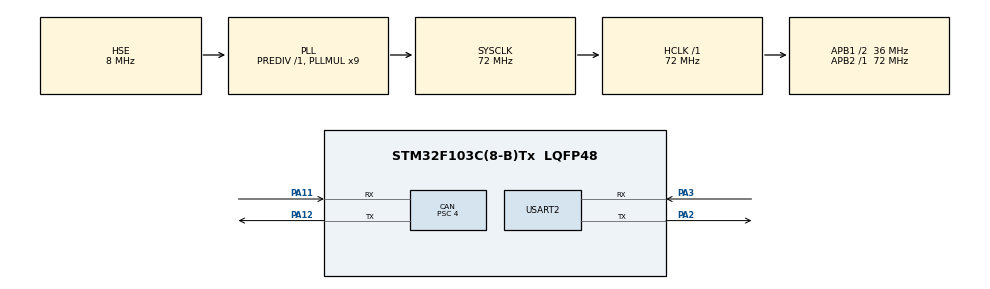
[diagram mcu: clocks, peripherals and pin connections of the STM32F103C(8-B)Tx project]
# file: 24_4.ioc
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CAN.BS1=CAN_BS1_4TQ
CAN.BS2=CAN_BS2_4TQ
CAN.CalculateBaudRate=1000000
CAN.CalculateTimeBit=1000
CAN.CalculateTimeQuantum=111.11111111111111
CAN.Mode=CAN_MODE_LOOPBACK
CAN.Prescaler=4
Dma.Request0=USART2_RX
Dma.Request1=USART2_TX
Dma.USART2_RX.0.Direction=DMA_PERIPH_TO_MEMORY
Dma.USART2_RX.0.Instance=DMA1_Channel6
Dma.USART2_RX.0.MemDataAlignment=DMA_MDATAALIGN_BYTE
Dma.USART2_RX.0.MemInc=DMA_MINC_ENABLE
Dma.USART2_RX.0.Mode=DMA_NORMAL
Dma.USART2_RX.0.PeriphDataAlignment=DMA_PDATAALIGN_BYTE
Dma.USART2_RX.0.PeriphInc=DMA_PINC_DISABLE
Dma.USART2_RX.0.Priority=DMA_PRIORITY_LOW
Dma.USART2_TX.1.Direction=DMA_MEMORY_TO_PERIPH
Dma.USART2_TX.1.Instance=DMA1_Channel7
Dma.USART2_TX.1.MemDataAlignment=DMA_MDATAALIGN_BYTE
Dma.USART2_TX.1.MemInc=DMA_MINC_ENABLE
Dma.USART2_TX.1.Mode=DMA_NORMAL
Dma.USART2_TX.1.PeriphDataAlignment=DMA_PDATAALIGN_BYTE
Dma.USART2_TX.1.PeriphInc=DMA_PINC_DISABLE
Dma.USART2_TX.1.Priority=DMA_PRIORITY_LOW
FREERTOS.Tasks01=defaultTask,24,128,StartDefaultTask,Default,NULL,Dynamic,NULL,NULL
Mcu.Family=STM32F1
Mcu.Name=STM32F103C(8-B)Tx
Mcu.Package=LQFP48
NVIC.CAN1_RX1_IRQn=true\:5\:0\:false\:false\:true\:true\:true\:true\:true
NVIC.DMA1_Channel6_IRQn=true\:5\:0\:false\:false\:true\:true\:false\:true\:true
NVIC.DMA1_Channel7_IRQn=true\:5\:0\:false\:false\:true\:true\:false\:true\:true
NVIC.PriorityGroup=NVIC_PRIORITYGROUP_4
NVIC.TIM4_IRQn=true\:15\:0\:false\:false\:true\:false\:false\:true\:true
NVIC.TimeBase=TIM4_IRQn
NVIC.TimeBaseIP=TIM4
NVIC.USART2_IRQn=true\:5\:0\:false\:false\:true\:true\:false\:true\:true
NVIC.USB_HP_CAN1_TX_IRQn=true\:5\:0\:false\:false\:true\:true\:true\:true\:true
NVIC.USB_LP_CAN1_RX0_IRQn=true\:5\:0\:false\:false\:true\:true\:true\:true\:true
PA11.Mode=CAN_Activate
PA11.Signal=CAN_RX
PA12.Mode=CAN_Activate
PA12.Signal=CAN_TX
PA13.Mode=Serial_Wire
PA13.Signal=SYS_JTMS-SWDIO
PA14.Mode=Serial_Wire
PA14.Signal=SYS_JTCK-SWCLK
PA2.Mode=Asynchronous
PA2.Signal=USART2_TX
PA3.Mode=Asynchronous
PA3.Signal=USART2_RX
PD0-OSC_IN.Mode=HSE-External-Oscillator
PD0-OSC_IN.Signal=RCC_OSC_IN
PD1-OSC_OUT.Mode=HSE-External-Oscillator
PD1-OSC_OUT.Signal=RCC_OSC_OUT
ProjectManager.HeapSize=0x200
ProjectManager.StackSize=0x400
ProjectManager.TargetToolchain=MDK-ARM V5.32
RCC.AHBFreq_Value=72000000
RCC.APB1CLKDivider=RCC_HCLK_DIV2
RCC.APB1Freq_Value=36000000
RCC.APB1TimFreq_Value=72000000
RCC.APB2Freq_Value=72000000
RCC.APB2TimFreq_Value=72000000
RCC.HCLKFreq_Value=72000000
RCC.PLLMUL=RCC_PLL_MUL9
RCC.PLLSourceVirtual=RCC_PLLSOURCE_HSE
RCC.SYSCLKFreq_VALUE=72000000
RCC.SYSCLKSource=RCC_SYSCLKSOURCE_PLLCLK
RCC.USBFreq_Value=72000000
USART2.VirtualMode=VM_ASYNC
VP_FREERTOS_VS_CMSIS_V2.Mode=CMSIS_V2
VP_SYS_VS_tim4.Mode=TIM4
board=custom

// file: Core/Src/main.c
/* USER CODE BEGIN Header */
/**
  ******************************************************************************
  * @file           : main.c
  * @brief          : Main program body
  ******************************************************************************
  * @attention
  *
  * Copyright (c) 2025 STMicroelectronics.
  * All rights reserved.
  *
  * This software is licensed under terms that can be found in the LICENSE file
  * in the root directory of this software component.
  * If no LICENSE file comes with this software, it is provided AS-IS.
  *
  ******************************************************************************
  */
/* USER CODE END Header */
#include "main.h"
#include "cmsis_os.h"
#include "can.h"
#include "dma.h"
#include "usart.h"
#include "gpio.h"

void SystemClock_Config(void);
void MX_FREERTOS_Init(void);

int main(void)
{

  /* MCU Configuration--------------------------------------------------------*/

  /* Reset of all peripherals, Initializes the Flash interface and the Systick. */
  HAL_Init();

  /* Configure the system clock */
  SystemClock_Config();

  /* Initialize all configured peripherals */
  MX_GPIO_Init();
  MX_DMA_Init();
  MX_CAN_Init();
  MX_USART2_UART_Init();

  /* Init scheduler */
  osKernelInitialize();  /* Call init function for freertos objects (in cmsis_os2.c) */
  MX_FREERTOS_Init();

  /* Start scheduler */
  osKernelStart();

  /* We should never get here as control is now taken by the scheduler */

  /* Infinite loop */
  while (1)
  {

  }
}

void SystemClock_Config(void)
{
  RCC_OscInitTypeDef RCC_OscInitStruct = {0};
  RCC_ClkInitTypeDef RCC_ClkInitStruct = {0};

  /** Initializes the RCC Oscillators according to the specified parameters
  * in the RCC_OscInitTypeDef structure.
  */
  RCC_OscInitStruct.OscillatorType = RCC_OSCILLATORTYPE_HSE;
  RCC_OscInitStruct.HSEState = RCC_HSE_ON;
  RCC_OscInitStruct.HSEPredivValue = RCC_HSE_PREDIV_DIV1;
  RCC_OscInitStruct.HSIState = RCC_HSI_ON;
  RCC_OscInitStruct.PLL.PLLState = RCC_PLL_ON;
  RCC_OscInitStruct.PLL.PLLSource = RCC_PLLSOURCE_HSE;
  RCC_OscInitStruct.PLL.PLLMUL = RCC_PLL_MUL9;
  if (HAL_RCC_OscConfig(&RCC_OscInitStruct) != HAL_OK)
  {
    Error_Handler();
  }

  /** Initializes the CPU, AHB and APB buses clocks
  */
  RCC_ClkInitStruct.ClockType = RCC_CLOCKTYPE_HCLK|RCC_CLOCKTYPE_SYSCLK
                              |RCC_CLOCKTYPE_PCLK1|RCC_CLOCKTYPE_PCLK2;
  RCC_ClkInitStruct.SYSCLKSource = RCC_SYSCLKSOURCE_PLLCLK;
  RCC_ClkInitStruct.AHBCLKDivider = RCC_SYSCLK_DIV1;
  RCC_ClkInitStruct.APB1CLKDivider = RCC_HCLK_DIV2;
  RCC_ClkInitStruct.APB2CLKDivider = RCC_HCLK_DIV1;

  if (HAL_RCC_ClockConfig(&RCC_ClkInitStruct, FLASH_LATENCY_2) != HAL_OK)
  {
    Error_Handler();
  }
}

void HAL_TIM_PeriodElapsedCallback(TIM_HandleTypeDef *htim)
{
  if (htim->Instance == TIM4)
  {
    HAL_IncTick();
  }
}

void Error_Handler(void)
{
  __disable_irq();
  while (1)
  {
  }
}

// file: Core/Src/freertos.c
/* USER CODE BEGIN Header */
/**
  ******************************************************************************
  * File Name          : freertos.c
  * Description        : Code for freertos applications
  ******************************************************************************
  * @attention
  *
  * Copyright (c) 2025 STMicroelectronics.
  * All rights reserved.
  *
  * This software is licensed under terms that can be found in the LICENSE file
  * in the root directory of this software component.
  * If no LICENSE file comes with this software, it is provided AS-IS.
  *
  ******************************************************************************
  */
/* USER CODE END Header */

#include "FreeRTOS.h"
#include "task.h"
#include "main.h"
#include "cmsis_os.h"

/* USER CODE BEGIN Includes */
#include "usart.h"
#include "can.h"
#include <string.h>
/* USER CODE END Includes */

/* USER CODE BEGIN Variables */
CAN_TxHeaderTypeDef TxHeader;
CAN_RxHeaderTypeDef RxHeader;
uint8_t CAN_TxData[8] = {0};
uint8_t RxData[8];
uint32_t TxMailBox;
int canTrans = 1;
volatile int canState = 0;
int angle = 0;
int speed = 0;
int current = 0;
volatile int dmaState = 1;
int a = 0;
/* USER CODE END Variables */
/* Definitions for defaultTask */
osThreadId_t defaultTaskHandle;
const osThreadAttr_t defaultTask_attributes = {
  .name = "defaultTask",
  .stack_size = 128 * 4,
  .priority = (osPriority_t) osPriorityNormal,
};

/* USER CODE BEGIN FunctionPrototypes */
void CAN_SendData(void);
void CAN_Filter_Init(void);
void CANTask(void *parames);
void TransTask(void *parames);
void TxTask(void *parames);
/* USER CODE END FunctionPrototypes */

void StartDefaultTask(void *argument);

void MX_FREERTOS_Init(void); /* (MISRA C 2004 rule 8.1) */

void MX_FREERTOS_Init(void) {

  /* Create the thread(s) */
  /* creation of defaultTask */
  defaultTaskHandle = osThreadNew(StartDefaultTask, NULL, &defaultTask_attributes);

  /* USER CODE BEGIN RTOS_THREADS */
  /* add threads, ... */
	xTaskCreate(CANTask,"CANTask",128,NULL,osPriorityNormal,NULL);
	xTaskCreate(TransTask,"TransTask",128,NULL,osPriorityNormal,NULL);
	xTaskCreate(TxTask,"TxTask",128,NULL,osPriorityNormal,NULL);
  /* USER CODE END RTOS_THREADS */

}

void StartDefaultTask(void *argument)
{
  for(;;)
  {
    osDelay(1);
  }
}

/* USER CODE BEGIN Application */
void CAN_SendData(void){
	if(canTrans == 1){
		TxHeader.StdId = 0x201;         // 标准帧id
		TxHeader.DLC = 8;  							// 数据长度
		TxHeader.ExtId = 0;							// 扩展帧id
		TxHeader.IDE = CAN_ID_STD;      // 标准帧还是扩展帧
		TxHeader.RTR = CAN_RTR_DATA;    // 是标准帧还是远程帧
		CAN_TxData[0] = 0x11;      			  // 发一个π的小数点
		CAN_TxData[1] = 0x33;
		CAN_TxData[2] = 0x00;
		CAN_TxData[3] = 0x00;
		CAN_TxData[4] = 0xAA;
		CAN_TxData[5] = 0xBB;
		CAN_TxData[6] = 0xCC;
		CAN_TxData[7] = 0x00;
		canTrans = 2;
	}else if(canTrans == 2){
		TxHeader.StdId = 0x202;         // 标准帧id
		TxHeader.DLC = 8;  							// 数据长度
		TxHeader.ExtId = 0;							// 扩展帧id
		TxHeader.IDE = CAN_ID_STD;      // 标准帧还是扩展帧
		TxHeader.RTR = CAN_RTR_DATA;    // 是标准帧还是远程帧
		CAN_TxData[0] = 0x22;      			  // 发一个π的小数点
		CAN_TxData[1] = 0x44;
		CAN_TxData[2] = 0x00;
		CAN_TxData[3] = 0x11;
		CAN_TxData[4] = 0xAA;
		CAN_TxData[5] = 0xBB;
		CAN_TxData[6] = 0xDD;
		CAN_TxData[7] = 0x00;
		canTrans = 3;
	}else if(canTrans == 3){
		TxHeader.StdId = 0x203;         // 标准帧id
		TxHeader.DLC = 8;  							// 数据长度
		TxHeader.ExtId = 0;							// 扩展帧id
		TxHeader.IDE = CAN_ID_STD;      // 标准帧还是扩展帧
		TxHeader.RTR = CAN_RTR_DATA;    // 是标准帧还是远程帧
		CAN_TxData[0] = 0x12;      			  // 发一个π的小数点
		CAN_TxData[1] = 0x23;
		CAN_TxData[2] = 0x00;
		CAN_TxData[3] = 0x00;
		CAN_TxData[4] = 0xCF;
		CAN_TxData[5] = 0xA1;
		CAN_TxData[6] = 0xEA;
		CAN_TxData[7] = 0x00;
		canTrans = 1;
	}
	if(HAL_CAN_AddTxMessage(&hcan,&TxHeader,CAN_TxData,&TxMailBox) != HAL_OK){
	/* 有时间写个错误处理 */
		a++;
	};
}
// 收到数据后存到RxHeader和RxData
void HAL_CAN_RxFifo0MsgPendingCallback(CAN_HandleTypeDef *hcan){
	UBaseType_t uxSavedInterruptStatus; //创建变量
	uxSavedInterruptStatus = taskENTER_CRITICAL_FROM_ISR();
	HAL_CAN_GetRxMessage(hcan, CAN_RX_FIFO0, &RxHeader, RxData);
	canState = 1;
	taskEXIT_CRITICAL_FROM_ISR(uxSavedInterruptStatus);
}
// 三个邮箱发送完数据后的中断,这里用来发送下一轮数据
void CAN_Filter_Init(void) {
    CAN_FilterTypeDef sFilterConfig;      											// 定义过滤器
    sFilterConfig.FilterBank = 0;																// 过滤器组编号
    sFilterConfig.FilterFIFOAssignment = CAN_FILTER_FIFO0 ;     // 匹配成功后消息存入哪个fifo
    sFilterConfig.FilterIdHigh = ((0x201 | 0x202 | 0x203) << 5) & 0xffff;					// 过滤器id高16位    期望收到数据的id
    sFilterConfig.FilterIdLow = 0x0000;													// 过滤器id低16位
    sFilterConfig.FilterMaskIdHigh = 0x0000;										// 过滤器掩码高16位  掩码告诉你哪些位需要严格匹配
    sFilterConfig.FilterMaskIdLow = 0x0000;											// 过滤器掩码低16位
    sFilterConfig.FilterMode = CAN_FILTERMODE_IDMASK;						// 过滤器模式(掩码模式/列表模式)
    sFilterConfig.FilterScale = CAN_FILTERSCALE_32BIT;					// 过滤器位宽(用32位过滤器还是16位)
    sFilterConfig.SlaveStartFilterBank = 14;										// 划分主,从过滤器(一共14个),主从can1接收,从can2
	  sFilterConfig.FilterActivation = ENABLE;										// 过滤器使能
    HAL_CAN_ConfigFilter(&hcan, &sFilterConfig);								// 配置过滤器
	  uint32_t can_it = CAN_IT_RX_FIFO0_MSG_PENDING | CAN_IT_TX_MAILBOX_EMPTY;
    HAL_CAN_ActivateNotification(&hcan, can_it);                // 激活can中断
    HAL_CAN_Start(&hcan);        // 启动can
		HAL_CAN_GetState(&hcan);     // 获取can状态
		vTaskDelay(10);
}
void CANTask(void *parames){
	CAN_Filter_Init();						//初始化外设
	for(;;){
		CAN_SendData();
		vTaskDelay(2000);						//2s发一次
	}
}
void TransTask(void *parames){
	CAN_RxHeaderTypeDef tempHeader;
	int tempAngle = 0;
	int tempCurrent = 0;
	int tempSpeed = 0;
	int tempTemp = 0;
	char TxData[128];
	uint32_t uarTXlen = 0;
	for(;;){
		if(RxHeader.StdId == 0x201 || RxHeader.StdId == 0x202 || RxHeader.StdId == 0x203){
			taskENTER_CRITICAL();
			if(canState == 1){
				canState = 0;
				//tempHeader = RxHeader;
				tempAngle += RxData[0];
				tempAngle -= RxData[1];
				tempSpeed += RxData[2];
				tempSpeed -= RxData[3];
				tempCurrent += RxData[4];
				tempCurrent -= RxData[5];
				tempTemp = RxData[6];
				taskEXIT_CRITICAL();
				uarTXlen = snprintf(TxData,sizeof(TxData),
					"Angle=%d\nSpeed=%d\nCurrent=%d\nTemp=%d\n",
					tempAngle,tempSpeed,tempCurrent,tempTemp);
				taskENTER_CRITICAL();
				if(dmaState == 1){
					dmaState = 0;
					taskEXIT_CRITICAL();
					HAL_UART_Transmit_DMA(&huart2,(uint8_t *)TxData,uarTXlen);
				}else taskEXIT_CRITICAL();
			}else taskEXIT_CRITICAL();
		}else // 红灯亮,理应不可能
		vTaskDelay(50);
	}
}
void HAL_UART_TxCpltCallback(UART_HandleTypeDef *huart){
	if(huart == &huart2){
		UBaseType_t uxSavedInterruptStatus; //创建变量
		uxSavedInterruptStatus = taskENTER_CRITICAL_FROM_ISR();
		dmaState = 1;
		taskEXIT_CRITICAL_FROM_ISR(uxSavedInterruptStatus);
	}
}
void TxTask(void *parames){
	uint8_t MSG[] = "Maybe there are five thousand roses in the world as same as you, but only you are my unique rose.\nHappy everyday\n";
	for(;;){
		taskENTER_CRITICAL();
		if(dmaState == 1){
			dmaState = 0;
			taskEXIT_CRITICAL();
			HAL_UART_Transmit_DMA(&huart2,MSG,sizeof(MSG) - 1);
			vTaskDelay(2000);
		}else{
			taskEXIT_CRITICAL();
			vTaskDelay(50);
		}
	}
}
/* USER CODE END Application */
